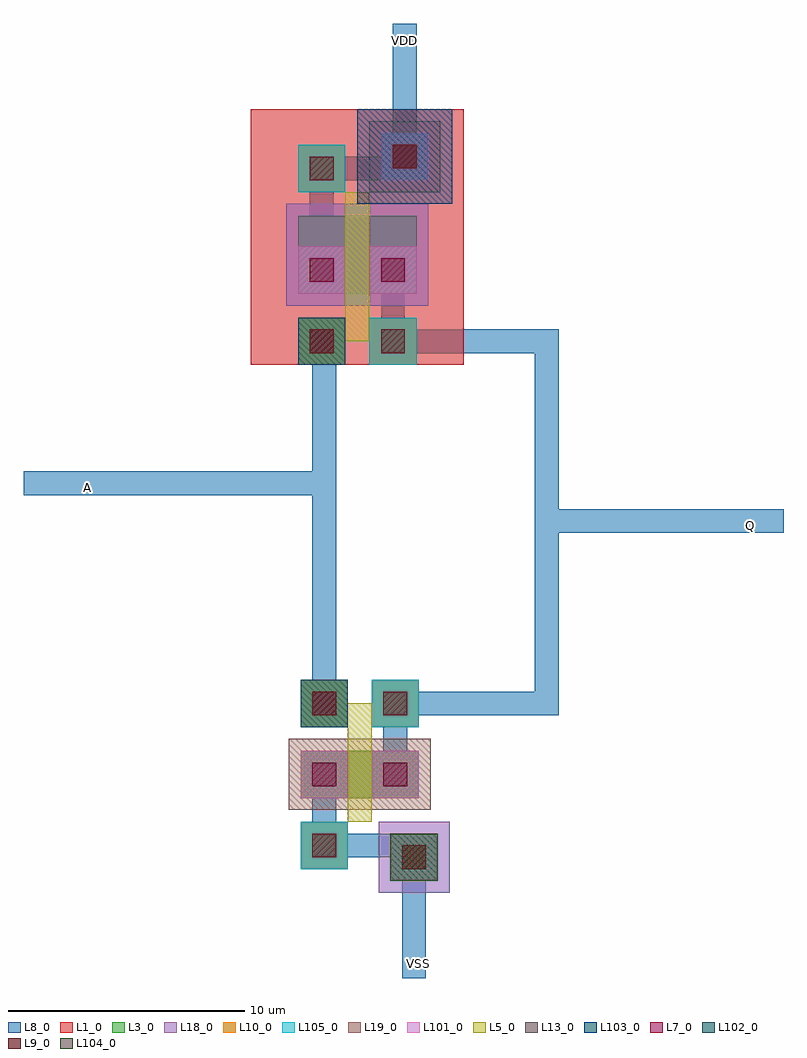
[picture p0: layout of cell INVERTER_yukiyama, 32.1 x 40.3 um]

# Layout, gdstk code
import gdstk
lib = gdstk.Library(unit=1e-6, precision=1e-07)
def R(c, l, rs):  # rectangles x0, y0, x1, y1
    for r in rs: c.add(gdstk.rectangle(r[:2], r[2:], *l))
L1_0 = (1, 0)
L3_0 = (3, 0)
L5_0 = (5, 0)
L7_0 = (7, 0)
L8_0 = (8, 0)
L9_0 = (9, 0)
L10_0 = (10, 0)
L13_0 = (13, 0)
L18_0 = (18, 0)
L19_0 = (19, 0)
L101_0 = (101, 0)
L102_0 = (102, 0)
L103_0 = (103, 0)
L104_0 = (104, 0)
L105_0 = (105, 0)

dcont = lib.new_cell('dcont')
R(dcont, L3_0, [(-1,-1,1,1)])
R(dcont, L7_0, [(-0.5,-0.5,0.5,0.5)])
R(dcont, L8_0, [(-1,-1,1,1)])
R(dcont, L13_0, [(-0.5,-0.5,0.5,0.5)])
R(dcont, L101_0, [(-1,-1,1,1)])

pcont = lib.new_cell('pcont')
R(pcont, L5_0, [(-1,-1,1,1)])
R(pcont, L7_0, [(-0.5,-0.5,0.5,0.5)])
R(pcont, L8_0, [(-1,-1,1,1)])
R(pcont, L13_0, [(-0.5,-0.5,0.5,0.5)])
R(pcont, L102_0, [(-1,-1,1,1)])

via = lib.new_cell('Via')
R(via, L8_0, [(-1,-1,1,1)])
R(via, L9_0, [(-0.5,-0.5,0.5,0.5)])
R(via, L10_0, [(-1,-1,1,1)])
R(via, L13_0, [(-0.5,-0.5,0.5,0.5)])
R(via, L105_0, [(-1,-1,1,1)])

dcont1 = lib.new_cell('dcont1')
R(dcont1, L3_0, [(-1,-1,1,1)])
R(dcont1, L7_0, [(-0.5,-0.5,0.5,0.5)])
R(dcont1, L8_0, [(-1,-1,1,1)])
R(dcont1, L13_0, [(-0.5,-0.5,0.5,0.5)])
R(dcont1, L101_0, [(-1,-1,1,1)])

nsubcont = lib.new_cell('nsubcont')
R(nsubcont, L1_0, [(-2,-2,2,2)])
R(nsubcont, L19_0, [(-1.5,-1.5,1.5,1.5)])
R(nsubcont, L103_0, [(-2,-2,2,2)])
nsubcont.add(gdstk.Reference(dcont1, (0,0)))

pch_1 = lib.new_cell('Pch$1')
R(pch_1, L1_0, [(-2,0,7,10.8)])
R(pch_1, L3_0, [(0,3,5,6.3)])
R(pch_1, L18_0, [(-0.5,2.5,5.5,6.8)])
pch_1.add(gdstk.FlexPath([(1,3),(1,6.3)], 2, ends="flush", simple_path=True, layer=8, datatype=0))  # L8_0
pch_1.add(gdstk.FlexPath([(4,3),(4,6.3)], 2, ends="flush", simple_path=True, layer=8, datatype=0))  # L8_0
pch_1.add(gdstk.FlexPath([(1,5.3),(1,8.3)], 1, ends="flush", simple_path=True, layer=8, datatype=0))  # L8_0
pch_1.add(gdstk.FlexPath([(4,1),(4,4)], 1, ends="flush", simple_path=True, layer=8, datatype=0))  # L8_0
pch_1.add(gdstk.FlexPath([(2.5,3),(2.5,6.3)], 1, ends=(1, 1), simple_path=True, layer=5, datatype=0))  # L5_0
pch_1.add(gdstk.FlexPath([(1,1.5),(2.5,1.5),(2.5,2)], 1, ends="flush", simple_path=True, layer=5, datatype=0))  # L5_0
pch_1.add(gdstk.Reference(dcont, (1,4)))
pch_1.add(gdstk.Reference(dcont, (4,4)))
pch_1.add(gdstk.Reference(pcont, (1,1)))
pch_1.add(gdstk.Reference(via, (1,1)))
pch_1.add(gdstk.Reference(via, (1,8.3)))
pch_1.add(gdstk.Reference(via, (4,1)))
pch_1.add(gdstk.Reference(nsubcont, (4.5,8.8)))
pch_1.add(gdstk.Reference(via, (4.5,8.8)))

psubcont = lib.new_cell('psubcont')
R(psubcont, L18_0, [(-1.5,-1.5,1.5,1.5)])
R(psubcont, L104_0, [(-1,-1,1,1)])
psubcont.add(gdstk.Reference(dcont1, (0,0)))

nch = lib.new_cell('Nch')
R(nch, L3_0, [(0,3,5,5)])
R(nch, L19_0, [(-0.5,2.5,5.5,5.5)])
nch.add(gdstk.FlexPath([(1,3),(1,5)], 2, ends="flush", simple_path=True, layer=8, datatype=0))  # L8_0
nch.add(gdstk.FlexPath([(4,3),(4,5)], 2, ends="flush", simple_path=True, layer=8, datatype=0))  # L8_0
nch.add(gdstk.FlexPath([(1,1),(1,4)], 1, ends="flush", simple_path=True, layer=8, datatype=0))  # L8_0
nch.add(gdstk.FlexPath([(4,4),(4,7)], 1, ends="flush", simple_path=True, layer=8, datatype=0))  # L8_0
nch.add(gdstk.FlexPath([(2.5,3),(2.5,5)], 1, ends=(1, 1), simple_path=True, layer=5, datatype=0))  # L5_0
nch.add(gdstk.FlexPath([(1,6.5),(2.5,6.5),(2.5,6)], 1, ends="flush", simple_path=True, layer=5, datatype=0))  # L5_0
nch.add(gdstk.Reference(dcont, (1,4)))
nch.add(gdstk.Reference(dcont, (4,4)))
nch.add(gdstk.Reference(pcont, (1,7)))
nch.add(gdstk.Reference(via, (1,7)))
nch.add(gdstk.Reference(via, (1,1)))
nch.add(gdstk.Reference(via, (4,7)))
nch.add(gdstk.Reference(psubcont, (4.8,0.5)))
nch.add(gdstk.Reference(via, (4.8,0.5)))

inverter_yukiyama = lib.new_cell('INVERTER_yukiyama')
inverter_yukiyama.add(gdstk.FlexPath([(10,-17.8),(14.3,-17.8),(14.3,-23.4),(14.3,-23.4),(14.3,-23.4)], 1, ends="flush", simple_path=True, layer=8, datatype=0))  # L8_0
inverter_yukiyama.add(gdstk.FlexPath([(10.5,-12.3),(10.5,3.5),(9.8,3.5),(9.8,3.5)], 1, ends="flush", simple_path=True, layer=8, datatype=0))  # L8_0
inverter_yukiyama.add(gdstk.FlexPath([(9.9,10.8),(13.9,10.8),(13.9,16.9),(13.9,16.9)], 1, ends="flush", simple_path=True, layer=8, datatype=0))  # L8_0
inverter_yukiyama.add(gdstk.FlexPath([(12.9,3.5),(19.9,3.5),(19.9,-11.8),(13,-11.8),(13,-11.8)], 1, ends="flush", simple_path=True, layer=8, datatype=0))  # L8_0
inverter_yukiyama.add(gdstk.FlexPath([(19.4,-4.1),(29.9,-4.1)], 1, ends="flush", simple_path=True, layer=8, datatype=0))  # L8_0
inverter_yukiyama.add(gdstk.FlexPath([(11,-2.5),(-2.2,-2.5)], 1, ends="flush", simple_path=True, layer=8, datatype=0))  # L8_0
inverter_yukiyama.add(gdstk.Reference(pch_1, (9.4,2.5)))
inverter_yukiyama.add(gdstk.Reference(nch, (9.5,-18.8)))
inverter_yukiyama.add(gdstk.Label('VDD', (13.9,16.2), layer=8, texttype=0))
inverter_yukiyama.add(gdstk.Label('Q', (28.5,-4.3), layer=8, texttype=0))
inverter_yukiyama.add(gdstk.Label('A', (0.5,-2.7), layer=8, texttype=0))
inverter_yukiyama.add(gdstk.Label('VSS', (14.5,-22.8), layer=8, texttype=0))

lib.write_gds('INVERTER_yukiyama.gds')
